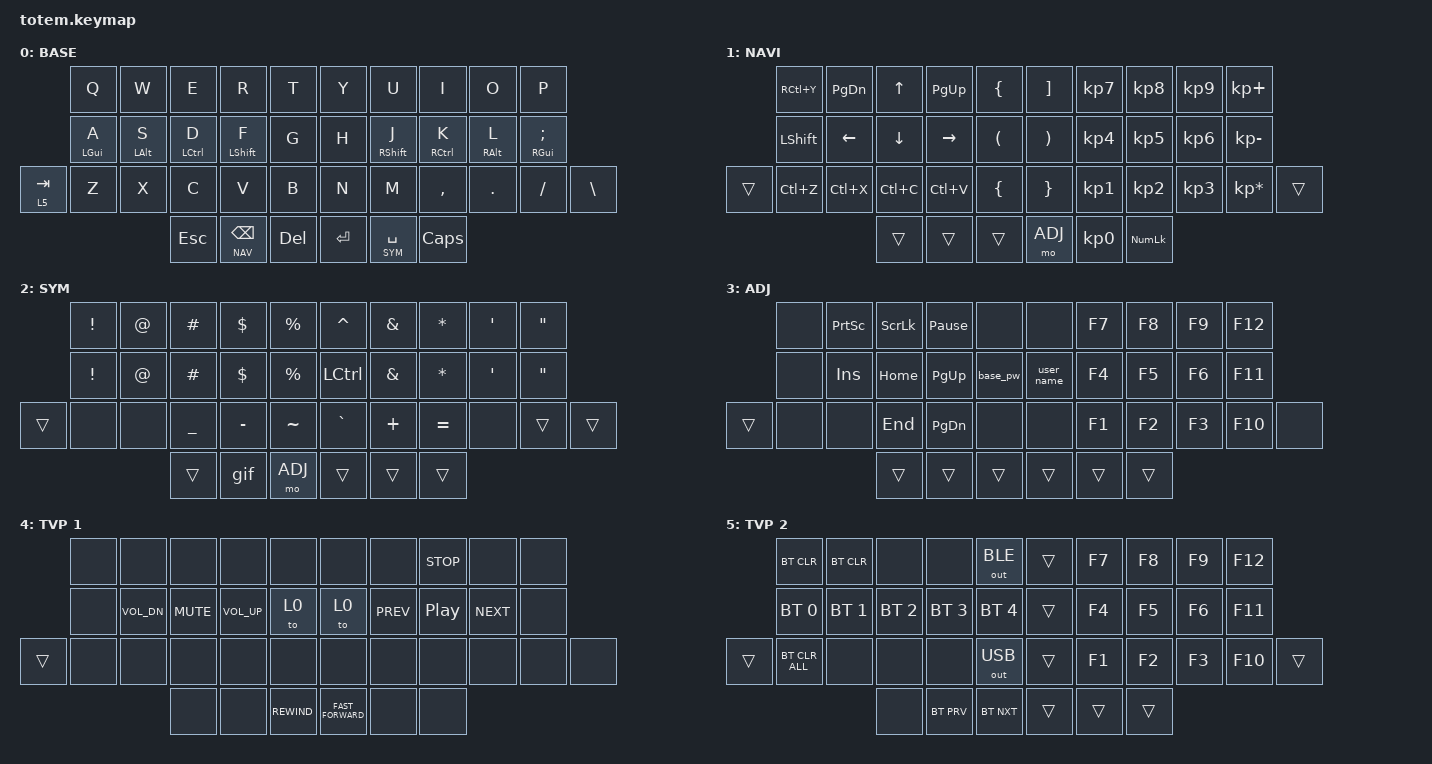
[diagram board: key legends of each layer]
//
//                                                        ▀▀▀▀▀     ▀▀▀▀▀          ▀▀█▀▀
//                                                        ▄▀▀▀▄  ▄  ▄▀▀▀▄  ▄  ▄▀▀▀▄  █  ▄▀▀▀▄
//                                                        █   █  █  █   █  █  █   █  █  █   █
//                                                         ▀▀▀   █   ▀▀▀   █   ▀▀▀   ▀   ▀▀▀
//                                                               █      ▄▄▄█▄▄▄    █   █  
//                                                               ▀      █  █  █     █▄█
//                                                             ▀▀▀▀▀    █  █  █      ▀
//                                                                      ▀  ▀  ▀
//
// ▄▄▄▄▄▄▄▄▄▄▄▄▄▄▄▄▄▄▄▄▄▄▄▄▄▄▄▄▄▄▄▄▄▄▄▄▄▄▄▄▄▄▄▄▄▄▄▄▄▄▄▄▄▄▄▄▄▄▄▄▄▄▄▄▄▄▄▄▄▄▄▄▄▄▄▄▄▄▄▄▄▄▄▄▄▄▄▄▄▄▄▄▄▄▄▄▄▄▄▄▄▄▄▄▄▄▄▄▄▄▄▄▄▄▄▄▄▄▄▄▄▄▄▄▄▄▄▄▄▄▄▄▄▄▄▄▄▄▄▄▄▄▄▄▄▄▄▄▄

#include <behaviors.dtsi>
#include <dt-bindings/zmk/bt.h>
#include <dt-bindings/zmk/keys.h>
#include <dt-bindings/zmk/outputs.h>

#define BASE 0
#define NAV  1
#define SYM  2
#define ADJ  3
#define TVP1 4
#define TVP2 5

&mt {
    quick-tap-ms = <100>;
    global-quick-tap;
    flavor = "tap-preferred";
    tapping-term-ms = <170>;
};

/ {
    combos {
        compatible = "zmk,combos";

        combo_esc {
            timeout-ms = <50>;
            key-positions = <0 1>;
            bindings = <&kp ESC>;
        };

        combo_tvp {
            timeout-ms = <100>;
            key-positions = <11 12 13>;
            bindings = <&tog TVP1>;
        };

        lparen {
            bindings = <&kp LEFT_PARENTHESIS>;
            key-positions = <17 16>;
        };

        rparen {
            bindings = <&kp RIGHT_PARENTHESIS>;
            key-positions = <17 18>;
        };

        lbracket {
            bindings = <&kp LEFT_BRACKET>;
            key-positions = <6 7>;
        };

        rbracket {
            bindings = <&kp RIGHT_BRACKET>;
            key-positions = <7 8>;
        };

        lbrace {
            bindings = <&kp LEFT_BRACE>;
            key-positions = <28 27>;
        };

        rbrace {
            bindings = <&kp RIGHT_BRACE>;
            key-positions = <28 29>;
        };

        combo_num {
            bindings = <&kp KP_NUMLOCK>;
            key-positions = <4 5>;
        };
    };

    macros {
        gif: gif {
            label = "giphy";
            compatible = "zmk,behavior-macro";
            #binding-cells = <0>;
            bindings =
                <&macro_press>,
                <&kp LSHFT>,
                <&macro_tap>,
                <&kp N2>,
                <&macro_release>,
                <&kp LSHFT>,
                <&macro_tap>,
                <&kp G &kp I &kp F>;
        };

        base_pw: base_pw {
            compatible = "zmk,behavior-macro";
            #binding-cells = <0>;
            bindings = <&kp LS(C) &kp LS(L) &kp A &kp DLLR &kp DLLR &kp R &kp N0 &kp N0 &kp RS(M) &kp POUND>;
            label = "BASE_PW";
        };

        user_name: user_name {
            compatible = "zmk,behavior-macro";
            #binding-cells = <0>;
            bindings = <&kp N &kp N1 &kp N4 &kp N1 &kp N1 &kp F>;
            label = "USER_NAME";
        };
    };

    keymap {
        compatible = "zmk,keymap";

        // ▄▄▄▄▄▄▄▄▄▄▄▄▄▄▄▄▄▄▄▄▄▄▄▄▄▄▄▄▄▄▄▄▄▄▄▄▄▄▄▄▄▄▄▄▄▄▄▄▄▄▄▄▄▄▄▄▄▄▄▄▄▄▄▄▄▄▄▄▄▄▄▄▄▄▄▄▄▄▄▄▄▄▄▄▄▄▄▄▄▄▄▄▄▄▄▄▄▄▄▄▄▄▄▄▄▄▄▄▄▄▄▄▄▄▄▄▄▄▄▄▄▄▄▄▄▄▄▄▄▄▄▄▄▄▄▄▄▄▄▄▄▄▄▄▄▄▄▄▄

        base_layer {
            // ┏━━━━━━━━━━━━━━━━━━━━━━━━━━━━━━━━━━━━━━━┓

            label = "BASE";

            // ┗━━━━━━━━━━━━━━━━━━━━━━━━━━━━━━━━━━━━━━━┛
            //             ┏━━━━━━━━━━━┳━━━━━━━━━━━┳━━━━━━━━━━━┳━━━━━━━━━━━┳━━━━━━━━━━━┓   ┏━━━━━━━━━━━┳━━━━━━━━━━━┳━━━━━━━━━━━┳━━━━━━━━━━━┳━━━━━━━━━━━┓
            //             ┃     Q     ┃     W     ┃     F     ┃     P     ┃     G     ┃   ┃     J     ┃     L     ┃     U     ┃     Y     ┃     ;     ┃
            //             ┣━━━━━━━━━━━╋━━━━━━━━━━━╋━━━━━━━━━━━╋━━━━━━━━━━━╋━━━━━━━━━━━┫   ┣━━━━━━━━━━━╋━━━━━━━━━━━╋━━━━━━━━━━━╋━━━━━━━━━━━╋━━━━━━━━━━━┫
            //             ┃     A     ┃     R     ┃     S     ┃     T     ┃     D     ┃   ┃     H     ┃     N     ┃     E     ┃     I     ┃     O     ┃
            // ┏━━━━━━━━━━━╋━━━━━━━━━━━╋━━━━━━━━━━━╋━━━━━━━━━━━╋━━━━━━━━━━━╋━━━━━━━━━━━┫   ┣━━━━━━━━━━━╋━━━━━━━━━━━╋━━━━━━━━━━━╋━━━━━━━━━━━╋━━━━━━━━━━━╋━━━━━━━━━━━┓
            // ┃     Q     ┃     Z     ┃     X     ┃     C     ┃     V     ┃     B     ┃   ┃     K     ┃     M     ┃     ,     ┃     .     ┃     /     ┃     \     ┃
            // ┗━━━━━━━━━━━┻━━━━━━━━━━━┻━━━━━━━━━━━╋━━━━━━━━━━━╋━━━━━━━━━━━╋━━━━━━━━━━━┫   ┣━━━━━━━━━━━╋━━━━━━━━━━━╋━━━━━━━━━━━╋━━━━━━━━━━━┻━━━━━━━━━━━┻━━━━━━━━━━━┛
            //                                     ┃    DEL    ┃    TAB    ┃    SPC    ┃   ┃   ENTER   ┃           ┃   BSPC    ┃
            //                                     ┗━━━━━━━━━━━┻━━━━━━━━━━━┻━━━━━━━━━━━┛   ┗━━━━━━━━━━━┻━━━━━━━━━━━┻━━━━━━━━━━━┛

            bindings = <
           &kp Q       &kp W       &kp E        &kp R              &kp T      &kp Y      &kp U          &kp I        &kp O       &kp P
           &mt LGUI A  &mt LALT S  &mt LCTRL D  &mt LSHFT F        &kp G      &kp H      &mt RSHFT J    &mt RCTRL K  &mt RALT L  &mt RGUI SEMICOLON
&lt 5 TAB  &kp Z       &kp X       &kp C        &kp V              &kp B      &kp N      &kp M          &kp COMMA    &kp DOT     &kp FSLH            &kp BSLH
                                   &kp ESCAPE   &lt NAV BACKSPACE  &kp DEL    &kp ENTER  &lt SYM SPACE  &kp CAPS
            >;
        };

        // ▄▄▄▄▄▄▄▄▄▄▄▄▄▄▄▄▄▄▄▄▄▄▄▄▄▄▄▄▄▄▄▄▄▄▄▄▄▄▄▄▄▄▄▄▄▄▄▄▄▄▄▄▄▄▄▄▄▄▄▄▄▄▄▄▄▄▄▄▄▄▄▄▄▄▄▄▄▄▄▄▄▄▄▄▄▄▄▄▄▄▄▄▄▄▄▄▄▄▄▄▄▄▄▄▄▄▄▄▄▄▄▄▄▄▄▄▄▄▄▄▄▄▄▄▄▄▄▄▄▄▄▄▄▄▄▄▄▄▄▄▄▄▄▄▄▄▄▄▄

        nav_layer {
            // ┏━━━━━━━━━━━━━━━━━━━━━━━━━━━━━━━━━━━━━━━┓

            label = "NAVI";

            // ┗━━━━━━━━━━━━━━━━━━━━━━━━━━━━━━━━━━━━━━━┛
            //             ┏━━━━━━━━━━━┳━━━━━━━━━━━┳━━━━━━━━━━━┳━━━━━━━━━━━┳━━━━━━━━━━━┓   ┏━━━━━━━━━━━┳━━━━━━━━━━━┳━━━━━━━━━━━┳━━━━━━━━━━━┳━━━━━━━━━━━┓
            //             ┃           ┃           ┃     UP    ┃           ┃     {     ┃   ┃     }     ┃     7     ┃     8     ┃     9     ┃     +     ┃
            //             ┣━━━━━━━━━━━╋━━━━━━━━━━━╋━━━━━━━━━━━╋━━━━━━━━━━━╋━━━━━━━━━━━┫   ┣━━━━━━━━━━━╋━━━━━━━━━━━╋━━━━━━━━━━━╋━━━━━━━━━━━╋━━━━━━━━━━━┫
            //             ┃   SHIFT   ┃   LEFT    ┃    DOWN   ┃   RIGHT   ┃     [     ┃   ┃     ]     ┃     4     ┃     5     ┃     6     ┃     -     ┃
            // ┏━━━━━━━━━━━╋━━━━━━━━━━━╋━━━━━━━━━━━╋━━━━━━━━━━━╋━━━━━━━━━━━╋━━━━━━━━━━━┫   ┣━━━━━━━━━━━╋━━━━━━━━━━━╋━━━━━━━━━━━╋━━━━━━━━━━━╋━━━━━━━━━━━╋━━━━━━━━━━━┓
            // ┃           ┃           ┃   P UP    ┃  C LOCK   ┃  P DOWN   ┃     (     ┃   ┃     )     ┃     1     ┃     2     ┃     3     ┃     *     ┃           ┃
            // ┗━━━━━━━━━━━┻━━━━━━━━━━━┻━━━━━━━━━━━╋━━━━━━━━━━━╋━━━━━━━━━━━╋━━━━━━━━━━━┫   ┣━━━━━━━━━━━╋━━━━━━━━━━━╋━━━━━━━━━━━╋━━━━━━━━━━━┻━━━━━━━━━━━┻━━━━━━━━━━━┛
            //                                     ┃           ┃    TAB    ┃    SPC    ┃   ┃    DEL    ┃     0     ┃           ┃
            //                                     ┗━━━━━━━━━━━┻━━━━━━━━━━━┻━━━━━━━━━━━┛   ┗━━━━━━━━━━━┻━━━━━━━━━━━┻━━━━━━━━━━━┛

            bindings = <
        &kp RC(Y)  &kp PAGE_DOWN  &kp UP     &kp PAGE_UP  &kp LBRC                &kp RIGHT_BRACKET      &kp KP_N7  &kp KP_N8       &kp KP_N9  &kp KP_PLUS
        &kp LSHFT  &kp LEFT       &kp DOWN   &kp RIGHT    &kp LEFT_PARENTHESIS    &kp RIGHT_PARENTHESIS  &kp KP_N4  &kp KP_N5       &kp KP_N6  &kp KP_MINUS
&trans  &kp LC(Z)  &kp LC(X)      &kp LC(C)  &kp LC(V)    &kp LEFT_BRACE          &kp RIGHT_BRACE        &kp KP_N1  &kp KP_N2       &kp KP_N3  &kp KP_MULTIPLY  &trans
                                  &trans     &trans       &trans                  &mo ADJ                &kp KP_N0  &kp KP_NUMLOCK
            >;
        };

        // ▄▄▄▄▄▄▄▄▄▄▄▄▄▄▄▄▄▄▄▄▄▄▄▄▄▄▄▄▄▄▄▄▄▄▄▄▄▄▄▄▄▄▄▄▄▄▄▄▄▄▄▄▄▄▄▄▄▄▄▄▄▄▄▄▄▄▄▄▄▄▄▄▄▄▄▄▄▄▄▄▄▄▄▄▄▄▄▄▄▄▄▄▄▄▄▄▄▄▄▄▄▄▄▄▄▄▄▄▄▄▄▄▄▄▄▄▄▄▄▄▄▄▄▄▄▄▄▄▄▄▄▄▄▄▄▄▄▄▄▄▄▄▄▄▄▄▄▄▄

        sim_layer {
            // ┏━━━━━━━━━━━━━━━━━━━━━━━━━━━━━━━━━━━━━━━┓

            label = "SYM";

            // ┗━━━━━━━━━━━━━━━━━━━━━━━━━━━━━━━━━━━━━━━┛
            //             ┏━━━━━━━━━━━┳━━━━━━━━━━━┳━━━━━━━━━━━┳━━━━━━━━━━━┳━━━━━━━━━━━┓   ┏━━━━━━━━━━━┳━━━━━━━━━━━┳━━━━━━━━━━━┳━━━━━━━━━━━┳━━━━━━━━━━━┓
            //             ┃     !     ┃     @     ┃     #     ┃     $     ┃     %     ┃   ┃     ˆ     ┃     &     ┃     Ü     ┃     '     ┃     "     ┃
            //             ┣━━━━━━━━━━━╋━━━━━━━━━━━╋━━━━━━━━━━━╋━━━━━━━━━━━╋━━━━━━━━━━━┫   ┣━━━━━━━━━━━╋━━━━━━━━━━━╋━━━━━━━━━━━╋━━━━━━━━━━━╋━━━━━━━━━━━┫
            //             ┃     Ä     ┃           ┃    SZ     ┃           ┃           ┃   ┃   MUTE    ┃   YEN     ┃   EURO    ┃  POUND    ┃     Ö     ┃
            // ┏━━━━━━━━━━━╋━━━━━━━━━━━╋━━━━━━━━━━━╋━━━━━━━━━━━╋━━━━━━━━━━━╋━━━━━━━━━━━┫   ┣━━━━━━━━━━━╋━━━━━━━━━━━╋━━━━━━━━━━━╋━━━━━━━━━━━╋━━━━━━━━━━━╋━━━━━━━━━━━┓
            // ┃           ┃  EMAIL1   ┃  EMAIL2   ┃           ┃           ┃           ┃   ┃   VOL-    ┃   VOL+    ┃   LAST    ┃   NEXT    ┃     \     ┃           ┃
            // ┗━━━━━━━━━━━┻━━━━━━━━━━━┻━━━━━━━━━━━╋━━━━━━━━━━━╋━━━━━━━━━━━╋━━━━━━━━━━━┫   ┣━━━━━━━━━━━╋━━━━━━━━━━━╋━━━━━━━━━━━╋━━━━━━━━━━━┻━━━━━━━━━━━┻━━━━━━━━━━━┛
            //                                     ┃           ┃    GIF    ┃    ADJ    ┃   ┃           ┃           ┃           ┃
            //                                     ┗━━━━━━━━━━━┻━━━━━━━━━━━┻━━━━━━━━━━━┛   ┗━━━━━━━━━━━┻━━━━━━━━━━━┻━━━━━━━━━━━┛

            bindings = <
        &kp EXCL         &kp AT       &kp HASH        &kp DLLR    &kp PRCNT      &kp CARET  &kp AMPS       &kp ASTERISK  &kp SQT           &kp DQT
        &kp EXCLAMATION  &kp AT_SIGN  &kp HASH        &kp DOLLAR  &kp PERCENT    &kp LCTRL  &kp AMPERSAND  &kp ASTERISK  &kp SINGLE_QUOTE  &kp DOUBLE_QUOTES
&trans  &none            &none        &kp UNDERSCORE  &kp MINUS   &kp TILDE      &kp GRAVE  &kp PLUS       &kp EQUAL     &none             &trans             &trans
                                      &trans          &gif        &mo ADJ        &trans     &trans         &trans
            >;
        };

        // ▄▄▄▄▄▄▄▄▄▄▄▄▄▄▄▄▄▄▄▄▄▄▄▄▄▄▄▄▄▄▄▄▄▄▄▄▄▄▄▄▄▄▄▄▄▄▄▄▄▄▄▄▄▄▄▄▄▄▄▄▄▄▄▄▄▄▄▄▄▄▄▄▄▄▄▄▄▄▄▄▄▄▄▄▄▄▄▄▄▄▄▄▄▄▄▄▄▄▄▄▄▄▄▄▄▄▄▄▄▄▄▄▄▄▄▄▄▄▄▄▄▄▄▄▄▄▄▄▄▄▄▄▄▄▄▄▄▄▄▄▄▄▄▄▄▄▄▄▄

        adjust_layer {
            // ┏━━━━━━━━━━━━━━━━━━━━━━━━━━━━━━━━━━━━━━━┓

            label = "ADJ";

            // ┗━━━━━━━━━━━━━━━━━━━━━━━━━━━━━━━━━━━━━━━┛
            //             ┏━━━━━━━━━━━┳━━━━━━━━━━━┳━━━━━━━━━━━┳━━━━━━━━━━━┳━━━━━━━━━━━┓   ┏━━━━━━━━━━━┳━━━━━━━━━━━┳━━━━━━━━━━━┳━━━━━━━━━━━┳━━━━━━━━━━━┓
            //             ┃   RESET   ┃ BT CLEAR  ┃  OUT TOG  ┃           ┃           ┃   ┃           ┃    F7     ┃    F8     ┃    F9     ┃    F12    ┃
            //             ┣━━━━━━━━━━━╋━━━━━━━━━━━╋━━━━━━━━━━━╋━━━━━━━━━━━╋━━━━━━━━━━━┫   ┣━━━━━━━━━━━╋━━━━━━━━━━━╋━━━━━━━━━━━╋━━━━━━━━━━━╋━━━━━━━━━━━┫
            //             ┃ BOOTLOAD  ┃ BT NEXT   ┃           ┃           ┃           ┃   ┃           ┃    F4     ┃    F5     ┃    F6     ┃    F11    ┃
            // ┏━━━━━━━━━━━╋━━━━━━━━━━━╋━━━━━━━━━━━╋━━━━━━━━━━━╋━━━━━━━━━━━╋━━━━━━━━━━━┫   ┣━━━━━━━━━━━╋━━━━━━━━━━━╋━━━━━━━━━━━╋━━━━━━━━━━━╋━━━━━━━━━━━╋━━━━━━━━━━━┓
            // ┃           ┃           ┃ BT PREV   ┃           ┃           ┃           ┃   ┃           ┃    F1     ┃    F2     ┃    F3     ┃    F10    ┃           ┃
            // ┗━━━━━━━━━━━┻━━━━━━━━━━━┻━━━━━━━━━━━╋━━━━━━━━━━━╋━━━━━━━━━━━╋━━━━━━━━━━━┫   ┣━━━━━━━━━━━╋━━━━━━━━━━━╋━━━━━━━━━━━╋━━━━━━━━━━━┻━━━━━━━━━━━┻━━━━━━━━━━━┛
            //                                     ┃           ┃           ┃           ┃   ┃           ┃           ┃           ┃
            //                                     ┗━━━━━━━━━━━┻━━━━━━━━━━━┻━━━━━━━━━━━┛   ┗━━━━━━━━━━━┻━━━━━━━━━━━┻━━━━━━━━━━━┛

            bindings = <
        &none  &kp PRINTSCREEN  &kp SCROLLLOCK  &kp PAUSE_BREAK  &none       &none       &kp F7  &kp F8  &kp F9  &kp F12
        &none  &kp INSERT       &kp HOME        &kp PAGE_UP      &base_pw    &user_name  &kp F4  &kp F5  &kp F6  &kp F11
&trans  &none  &none            &kp END         &kp PAGE_DOWN    &none       &none       &kp F1  &kp F2  &kp F3  &kp F10  &none
                                &trans          &trans           &trans      &trans      &trans  &trans
            >;
        };

        // ▄▄▄▄▄▄▄▄▄▄▄▄▄▄▄▄▄▄▄▄▄▄▄▄▄▄▄▄▄▄▄▄▄▄▄▄▄▄▄▄▄▄▄▄▄▄▄▄▄▄▄▄▄▄▄▄▄▄▄▄▄▄▄▄▄▄▄▄▄▄▄▄▄▄▄▄▄▄▄▄▄▄▄▄▄▄▄▄▄▄▄▄▄▄▄▄▄▄▄▄▄▄▄▄▄▄▄▄▄▄▄▄▄▄▄▄▄▄▄▄▄▄▄▄▄▄▄▄▄▄▄▄▄▄▄▄▄▄▄▄▄▄▄▄▄▄▄▄▄

        tvp1_layer {
            // ┏━━━━━━━━━━━━━━━━━━━━━━━━━━━━━━━━━━━━━━━┓

            label = "TVP 1";

            // ┗━━━━━━━━━━━━━━━━━━━━━━━━━━━━━━━━━━━━━━━┛
            //             ┏━━━━━━━━━━━┳━━━━━━━━━━━┳━━━━━━━━━━━┳━━━━━━━━━━━┳━━━━━━━━━━━┓   ┏━━━━━━━━━━━┳━━━━━━━━━━━┳━━━━━━━━━━━┳━━━━━━━━━━━┳━━━━━━━━━━━┓
            //             ┃ NEXT FILE ┃ MARK IN   ┃ ROTATE    ┃ MARK OUT  ┃ SHOW SNAP ┃   ┃           ┃           ┃           ┃           ┃           ┃
            //             ┣━━━━━━━━━━━╋━━━━━━━━━━━╋━━━━━━━━━━━╋━━━━━━━━━━━╋━━━━━━━━━━━┫   ┣━━━━━━━━━━━╋━━━━━━━━━━━╋━━━━━━━━━━━╋━━━━━━━━━━━╋━━━━━━━━━━━┫
            //             ┃ TVP II    ┃ LEFT      ┃ PAN       ┃ RIGHT     ┃ PLAY/FLIP ┃   ┃           ┃           ┃           ┃           ┃           ┃
            // ┏━━━━━━━━━━━╋━━━━━━━━━━━╋━━━━━━━━━━━╋━━━━━━━━━━━╋━━━━━━━━━━━╋━━━━━━━━━━━┫   ┣━━━━━━━━━━━╋━━━━━━━━━━━╋━━━━━━━━━━━╋━━━━━━━━━━━╋━━━━━━━━━━━╋━━━━━━━━━━━┓
            // ┃ FULLSCR   ┃ SHIFT     ┃ COPY      ┃ DELETE    ┃ PASTE     ┃ IMG MARK  ┃   ┃           ┃           ┃           ┃           ┃           ┃           ┃
            // ┗━━━━━━━━━━━┻━━━━━━━━━━━┻━━━━━━━━━━━╋━━━━━━━━━━━╋━━━━━━━━━━━╋━━━━━━━━━━━┫   ┣━━━━━━━━━━━╋━━━━━━━━━━━╋━━━━━━━━━━━╋━━━━━━━━━━━┻━━━━━━━━━━━┻━━━━━━━━━━━┛
            //                                     ┃           ┃ UNDO/SAVE ┃  SEL/MOV  ┃   ┃           ┃           ┃           ┃
            //                                     ┗━━━━━━━━━━━┻━━━━━━━━━━━┻━━━━━━━━━━━┛   ┗━━━━━━━━━━━┻━━━━━━━━━━━┻━━━━━━━━━━━┛

            bindings = <
        &none  &none         &none       &none            &none           &none               &none       &kp C_STOP  &none       &none
        &none  &kp C_VOL_DN  &kp C_MUTE  &kp C_VOLUME_UP  &to 0           &to 0               &kp C_PREV  &kp C_PP    &kp C_NEXT  &none
&trans  &none  &none         &none       &none            &none           &none               &none       &none       &none       &none  &none
                             &none       &none            &kp C_REWIND    &kp C_FAST_FORWARD  &none       &none
            >;
        };

        // ▄▄▄▄▄▄▄▄▄▄▄▄▄▄▄▄▄▄▄▄▄▄▄▄▄▄▄▄▄▄▄▄▄▄▄▄▄▄▄▄▄▄▄▄▄▄▄▄▄▄▄▄▄▄▄▄▄▄▄▄▄▄▄▄▄▄▄▄▄▄▄▄▄▄▄▄▄▄▄▄▄▄▄▄▄▄▄▄▄▄▄▄▄▄▄▄▄▄▄▄▄▄▄▄▄▄▄▄▄▄▄▄▄▄▄▄▄▄▄▄▄▄▄▄▄▄▄▄▄▄▄▄▄▄▄▄▄▄▄▄▄▄▄▄▄▄▄▄▄

        bt_layer {
            // ┏━━━━━━━━━━━━━━━━━━━━━━━━━━━━━━━━━━━━━━━┓

            label = "TVP 2";

            // ┗━━━━━━━━━━━━━━━━━━━━━━━━━━━━━━━━━━━━━━━┛
            //             ┏━━━━━━━━━━━┳━━━━━━━━━━━┳━━━━━━━━━━━┳━━━━━━━━━━━┳━━━━━━━━━━━┓   ┏━━━━━━━━━━━┳━━━━━━━━━━━┳━━━━━━━━━━━┳━━━━━━━━━━━┳━━━━━━━━━━━┓
            //             ┃ SOLO      ┃ TOGGLE IN ┃ RESET ROT ┃ TOGGLE OUT┃ TAKE SNAP ┃   ┃           ┃           ┃           ┃           ┃           ┃
            //             ┣━━━━━━━━━━━╋━━━━━━━━━━━╋━━━━━━━━━━━╋━━━━━━━━━━━╋━━━━━━━━━━━┫   ┣━━━━━━━━━━━╋━━━━━━━━━━━╋━━━━━━━━━━━╋━━━━━━━━━━━╋━━━━━━━━━━━┫
            //             ┃ ---       ┃ LAST KEY  ┃ NEW KEY   ┃ NEXT KEY  ┃ ENTER     ┃   ┃           ┃           ┃           ┃           ┃           ┃
            // ┏━━━━━━━━━━━╋━━━━━━━━━━━╋━━━━━━━━━━━╋━━━━━━━━━━━╋━━━━━━━━━━━╋━━━━━━━━━━━┫   ┣━━━━━━━━━━━╋━━━━━━━━━━━╋━━━━━━━━━━━╋━━━━━━━━━━━╋━━━━━━━━━━━╋━━━━━━━━━━━┓
            // ┃           ┃ FULLSCR   ┃ CPY2BRUSH ┃ DEL HEAD  ┃ PSTinPLACE┃ BOOK MARK ┃   ┃           ┃           ┃           ┃           ┃           ┃           ┃
            // ┗━━━━━━━━━━━┻━━━━━━━━━━━┻━━━━━━━━━━━╋━━━━━━━━━━━╋━━━━━━━━━━━╋━━━━━━━━━━━┫   ┣━━━━━━━━━━━╋━━━━━━━━━━━╋━━━━━━━━━━━╋━━━━━━━━━━━┻━━━━━━━━━━━┻━━━━━━━━━━━┛
            //                                     ┃           ┃ REDO/SAV1 ┃TRANS/WARP ┃   ┃           ┃           ┃           ┃
            //                                     ┗━━━━━━━━━━━┻━━━━━━━━━━━┻━━━━━━━━━━━┛   ┗━━━━━━━━━━━┻━━━━━━━━━━━┻━━━━━━━━━━━┛

            bindings = <
        &bt BT_CLR      &bt BT_CLR    &none         &none         &out OUT_BLE    &trans  &kp F7  &kp F8  &kp F9  &kp F12
        &bt BT_SEL 0    &bt BT_SEL 1  &bt BT_SEL 2  &bt BT_SEL 3  &bt BT_SEL 4    &trans  &kp F4  &kp F5  &kp F6  &kp F11
&trans  &bt BT_CLR_ALL  &none         &none         &none         &out OUT_USB    &trans  &kp F1  &kp F2  &kp F3  &kp F10  &trans
                                      &none         &bt BT_PRV    &bt BT_NXT      &trans  &trans  &trans
            >;
        };
    };
};
